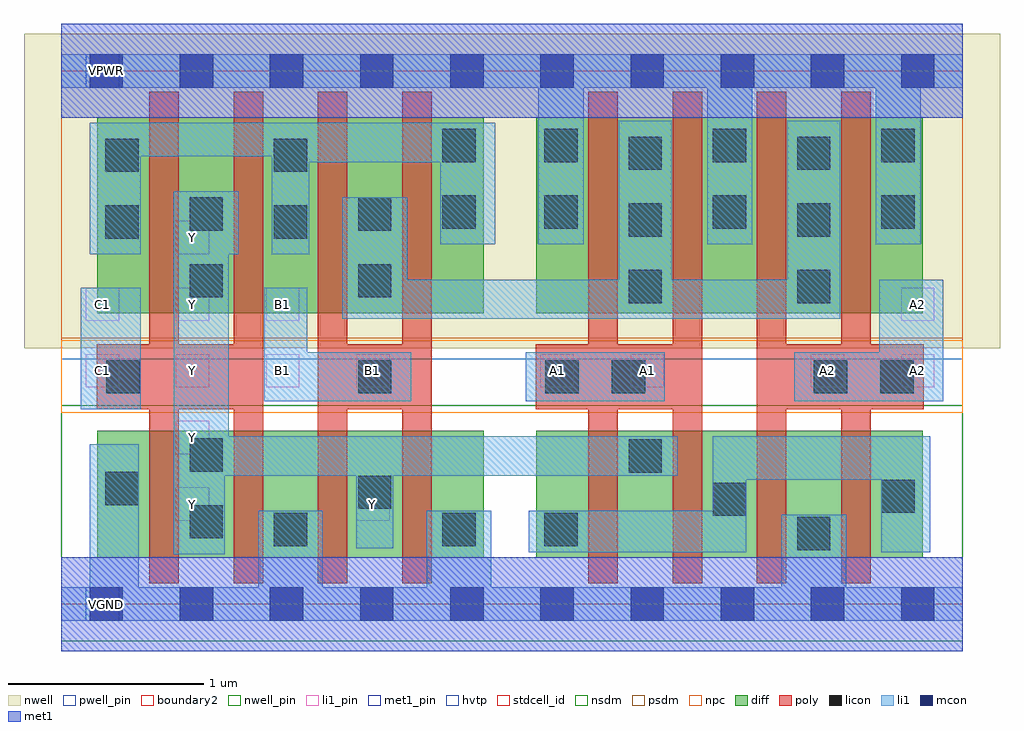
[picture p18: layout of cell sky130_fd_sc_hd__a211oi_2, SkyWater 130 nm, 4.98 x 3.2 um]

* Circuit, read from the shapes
.subckt sky130_fd_sc_hd__a211oi_2 A1 A2 B1 C1 VGND VNB VPB VPWR Y
XM1 Y C1 VGND VNB sky130_fd_pr__nfet_01v8 w=0.65 l=0.15 m=2
XM2 Y B1 VGND VNB sky130_fd_pr__nfet_01v8 w=0.65 l=0.15 m=2
XM3 Y A1 n1 VNB sky130_fd_pr__nfet_01v8 w=0.65 l=0.15 m=2
XM4 VGND A2 n1 VNB sky130_fd_pr__nfet_01v8 w=0.65 l=0.15 m=2
XM5 Y C1 n2 VPB sky130_fd_pr__pfet_01v8_hvt w=1 l=0.15 m=2
XM6 n3 B1 n2 VPB sky130_fd_pr__pfet_01v8_hvt w=1 l=0.15 m=2
XM7 n3 A1 VPWR VPB sky130_fd_pr__pfet_01v8_hvt w=1 l=0.15 m=2
XM8 n3 A2 VPWR VPB sky130_fd_pr__pfet_01v8_hvt w=1 l=0.15 m=2
.ends

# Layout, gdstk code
import gdstk
lib = gdstk.Library(unit=1e-6, precision=1e-09)
def R(c, l, rs):  # rectangles x0, y0, x1, y1
    for r in rs: c.add(gdstk.rectangle(r[:2], r[2:], *l))
def A(c, l, x, y, w, h, nx, ny, dx, dy):  # array of equal rectangles
    R(c, l, [(x+i*dx, y+j*dy, x+i*dx+w, y+j*dy+h) for i in range(nx) for j in range(ny)])
def P(c, l, *ps):  # polygons
    for p in ps: c.add(gdstk.Polygon(p, *l))
nwell_pin = (64, 16)
nwell = (64, 20)
diff = (65, 20)
poly = (66, 20)
licon = (66, 44)
li1_pin = (67, 16)
li1 = (67, 20)
mcon = (67, 44)
met1_pin = (68, 16)
met1 = (68, 20)
hvtp = (78, 44)
stdcell_id = (81, 4)
nsdm = (93, 44)
psdm = (94, 20)
npc = (95, 20)
pwell_pin = (122, 16)
boundary2 = (236, 0)

sky130_fd_sc_hd__a211oi_ = lib.new_cell('sky130_fd_sc_hd__a211oi_2')
R(sky130_fd_sc_hd__a211oi_, nwell_pin, [(0.125,2.635,0.295,2.805)])
R(sky130_fd_sc_hd__a211oi_, nwell, [(-0.19,1.305,4.79,2.91)])
R(sky130_fd_sc_hd__a211oi_, diff, [(0.185,0.235,2.155,0.885), (2.425,0.235,4.395,0.885), (0.185,1.485,2.155,2.485), (2.425,1.485,4.395,2.485)])
P(sky130_fd_sc_hd__a211oi_, poly, [(4.4,1.325),(4.13,1.325),(4.13,2.615),(3.98,2.615),(3.98,1.325),(3.7,1.325),(3.7,2.615),(3.55,2.615),(3.55,0.105),(3.7,0.105),(3.7,0.995),(3.98,0.995),(3.98,0.105),(4.13,0.105),(4.13,0.995),(4.4,0.995)],
  [(3.27,2.615),(3.12,2.615),(3.12,1.325),(2.84,1.325),(2.84,2.615),(2.69,2.615),(2.69,1.325),(2.42,1.325),(2.42,0.995),(2.69,0.995),(2.69,0.105),(2.84,0.105),(2.84,0.995),(3.12,0.995),(3.12,0.105),(3.27,0.105)],
  [(1.89,2.615),(1.74,2.615),(1.74,1.325),(1.46,1.325),(1.46,2.615),(1.31,2.615),(1.31,0.105),(1.46,0.105),(1.46,0.995),(1.74,0.995),(1.74,0.105),(1.89,0.105)],
  [(1.03,2.615),(0.88,2.615),(0.88,1.325),(0.6,1.325),(0.6,2.615),(0.45,2.615),(0.45,1.325),(0.18,1.325),(0.18,0.995),(0.45,0.995),(0.45,0.105),(0.6,0.105),(0.6,0.995),(0.88,0.995),(0.88,0.105),(1.03,0.105)])
A(sky130_fd_sc_hd__a211oi_, licon, 2.895, 1.535, 0.17, 0.17, 1, 3, 0, 0.34)
A(sky130_fd_sc_hd__a211oi_, licon, 3.755, 1.535, 0.17, 0.17, 1, 3, 0, 0.34)
A(sky130_fd_sc_hd__a211oi_, licon, 2.465, 1.915, 0.17, 0.17, 3, 2, 0.86, 0.34)
R(sky130_fd_sc_hd__a211oi_, licon, [(3.755,0.275,3.925,0.445), (1.085,0.295,1.255,0.465), (1.945,0.295,2.115,0.465), (2.465,0.295,2.635,0.465), (0.655,0.335,0.825,0.505), (3.325,0.45,3.495,0.62), (4.185,0.465,4.355,0.635), (1.515,0.485,1.685,0.655), (0.225,0.505,0.395,0.675), (2.895,0.67,3.065,0.84), (0.655,0.675,0.825,0.845), (0.23,1.075,0.4,1.245), (1.515,1.075,1.685,1.245), (2.47,1.075,2.64,1.245), (2.81,1.075,2.98,1.245), (3.84,1.075,4.01,1.245), (4.18,1.075,4.35,1.245), (0.655,1.565,0.825,1.735), (1.515,1.565,1.685,1.735), (0.225,1.865,0.395,2.035), (1.085,1.865,1.255,2.035), (0.655,1.905,0.825,2.075), (1.515,1.905,1.685,2.075), (1.945,1.915,2.115,2.085), (0.225,2.205,0.395,2.375), (1.085,2.205,1.255,2.375), (1.945,2.255,2.115,2.425)])
A(sky130_fd_sc_hd__a211oi_, li1_pin, 0.125, 1.105, 0.17, 0.17, 4, 1, 0.46, 0)
A(sky130_fd_sc_hd__a211oi_, li1_pin, 0.125, 1.445, 0.17, 0.17, 3, 1, 0.46, 0)
R(sky130_fd_sc_hd__a211oi_, li1_pin, [(0.585,0.425,0.755,0.595), (1.505,0.425,1.675,0.595), (0.585,0.765,0.755,0.935), (2.445,1.105,2.615,1.275), (2.905,1.105,3.075,1.275), (3.825,1.105,3.995,1.275), (4.285,1.105,4.455,1.275), (4.285,1.445,4.455,1.615), (0.585,1.785,0.755,1.955)])
R(sky130_fd_sc_hd__a211oi_, li1, [(0.1,0.995,0.405,1.615), (2.37,1.035,3.08,1.285)])
P(sky130_fd_sc_hd__a211oi_, li1, [(4.6,2.805),(0,2.805),(0,2.635),(2.435,2.635),(2.435,1.835),(2.665,1.835),(2.665,2.635),(3.295,2.635),(3.295,1.835),(3.525,1.835),(3.525,2.635),(4.155,2.635),(4.155,1.835),(4.385,1.835),(4.385,2.635),(4.6,2.635)],
  [(4.6,0.085),(4.005,0.085),(4.005,0.455),(3.675,0.455),(3.675,0.085),(2.195,0.085),(2.195,0.475),(1.865,0.475),(1.865,0.085),(1.335,0.085),(1.335,0.475),(1.005,0.475),(1.005,0.085),(0.395,0.085),(0.395,0.815),(0.145,0.815),(0.145,0.085),(0,0.085),(0,-0.085),(4.6,-0.085)],
  [(3.145,0.855),(0.855,0.855),(0.855,1.785),(0.905,1.785),(0.905,2.105),(0.575,2.105),(0.575,0.255),(0.835,0.255),(0.835,0.655),(1.505,0.655),(1.505,0.285),(1.695,0.285),(1.695,0.655),(3.145,0.655)],
  [(4.5,1.655),(4.175,1.655),(4.175,1.285),(3.74,1.285),(3.74,1.035),(4.5,1.035)],
  [(4.435,0.855),(3.325,0.855),(3.325,0.475),(2.385,0.475),(2.385,0.265),(3.495,0.265),(3.495,0.635),(4.185,0.635),(4.185,0.265),(4.435,0.265)],
  [(3.975,2.465),(3.705,2.465),(3.705,1.655),(3.115,1.655),(3.115,2.465),(2.845,2.465),(2.845,1.655),(1.765,1.655),(1.765,2.075),(1.435,2.075),(1.435,1.455),(3.975,1.455)],
  [(2.215,2.455),(0.145,2.455),(0.145,1.785),(0.405,1.785),(0.405,2.285),(1.075,2.285),(1.075,1.785),(1.265,1.785),(1.265,2.255),(1.935,2.255),(1.935,1.835),(2.215,1.835)],
  [(1.035,1.035),(1.035,1.615),(1.255,1.615),(1.255,1.285),(1.785,1.285),(1.785,1.035)])
A(sky130_fd_sc_hd__a211oi_, mcon, 0.145, -0.085, 0.17, 0.17, 10, 2, 0.46, 2.72)
R(sky130_fd_sc_hd__a211oi_, met1_pin, [(0.125,-0.085,0.295,0.085), (0.125,2.635,0.295,2.805)])
R(sky130_fd_sc_hd__a211oi_, hvtp, [(0,1.25,4.6,2.72)])
R(sky130_fd_sc_hd__a211oi_, stdcell_id, [(0,0,4.6,2.72)])
R(sky130_fd_sc_hd__a211oi_, nsdm, [(0,-0.19,4.6,1.015)])
R(sky130_fd_sc_hd__a211oi_, psdm, [(0,1.355,4.6,2.91)])
R(sky130_fd_sc_hd__a211oi_, npc, [(0,0.975,4.6,1.345)])
R(sky130_fd_sc_hd__a211oi_, pwell_pin, [(0.125,-0.085,0.295,0.085)])
R(sky130_fd_sc_hd__a211oi_, boundary2, [(0,0,4.6,2.72)])
sky130_fd_sc_hd__a211oi_.add(gdstk.FlexPath([(0,0),(4.6,0)], 0.48, ends="flush", simple_path=True, layer=68, datatype=20))  # met1
sky130_fd_sc_hd__a211oi_.add(gdstk.FlexPath([(0,2.72),(4.6,2.72)], 0.48, ends="flush", simple_path=True, layer=68, datatype=20))  # met1
sky130_fd_sc_hd__a211oi_.add(gdstk.Label('A2', (3.91,1.19), layer=67, texttype=5))
sky130_fd_sc_hd__a211oi_.add(gdstk.Label('C1', (0.21,1.19), layer=67, texttype=5))
sky130_fd_sc_hd__a211oi_.add(gdstk.Label('C1', (0.21,1.53), layer=67, texttype=5))
sky130_fd_sc_hd__a211oi_.add(gdstk.Label('B1', (1.59,1.19), layer=67, texttype=5))
sky130_fd_sc_hd__a211oi_.add(gdstk.Label('Y', (0.67,1.53), layer=67, texttype=5))
sky130_fd_sc_hd__a211oi_.add(gdstk.Label('Y', (0.67,1.87), layer=67, texttype=5))
sky130_fd_sc_hd__a211oi_.add(gdstk.Label('Y', (0.67,1.19), layer=67, texttype=5))
sky130_fd_sc_hd__a211oi_.add(gdstk.Label('Y', (0.67,0.85), layer=67, texttype=5))
sky130_fd_sc_hd__a211oi_.add(gdstk.Label('Y', (0.67,0.51), layer=67, texttype=5))
sky130_fd_sc_hd__a211oi_.add(gdstk.Label('Y', (1.59,0.51), layer=67, texttype=5))
sky130_fd_sc_hd__a211oi_.add(gdstk.Label('A1', (2.53,1.19), layer=67, texttype=5))
sky130_fd_sc_hd__a211oi_.add(gdstk.Label('A2', (4.37,1.53), layer=67, texttype=5))
sky130_fd_sc_hd__a211oi_.add(gdstk.Label('A1', (2.99,1.19), layer=67, texttype=5))
sky130_fd_sc_hd__a211oi_.add(gdstk.Label('B1', (1.13,1.19), layer=67, texttype=5))
sky130_fd_sc_hd__a211oi_.add(gdstk.Label('A2', (4.37,1.19), layer=67, texttype=5))
sky130_fd_sc_hd__a211oi_.add(gdstk.Label('B1', (1.13,1.53), layer=67, texttype=5))
sky130_fd_sc_hd__a211oi_.add(gdstk.Label('VPWR', (0.23,2.72), layer=68, texttype=5))
sky130_fd_sc_hd__a211oi_.add(gdstk.Label('VGND', (0.23,0), layer=68, texttype=5))
sky130_fd_sc_hd__a211oi_.add(gdstk.Label('VPB', (0.23,2.72), layer=64, texttype=5))
sky130_fd_sc_hd__a211oi_.add(gdstk.Label('VNB', (0.23,0), layer=64, texttype=59))
sky130_fd_sc_hd__a211oi_.add(gdstk.Label('a211oi_2', (0,0), layer=83, texttype=44))

lib.write_gds('sky130_fd_sc_hd__a211oi_2.gds')
